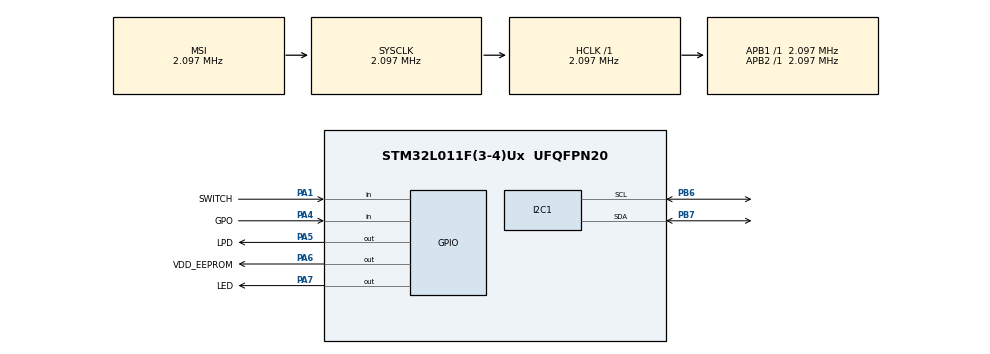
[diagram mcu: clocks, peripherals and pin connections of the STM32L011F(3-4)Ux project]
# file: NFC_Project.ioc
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Mcu.Family=STM32L0
Mcu.Name=STM32L011F(3-4)Ux
Mcu.Package=UFQFPN20
PA1.GPIO_Label=SWITCH
PA1.GPIO_PuPd=GPIO_PULLUP
PA1.Signal=GPIO_Input
PA13.Mode=Serial_Wire
PA13.Signal=SYS_SWDIO
PA14.Mode=Serial_Wire
PA14.Signal=SYS_SWCLK
PA4.GPIO_Label=GPO
PA4.Signal=GPIO_Input
PA5.GPIO_Label=LPD
PA5.Signal=GPIO_Output
PA6.GPIO_Label=VDD_EEPROM
PA6.PinState=GPIO_PIN_RESET
PA6.Signal=GPIO_Output
PA7.GPIO_Label=LED
PA7.PinState=GPIO_PIN_SET
PA7.Signal=GPIO_Output
PB6.Mode=I2C
PB6.Signal=I2C1_SCL
PB7.Mode=I2C
PB7.Signal=I2C1_SDA
ProjectManager.HeapSize=0x200
ProjectManager.StackSize=0x400
ProjectManager.TargetToolchain=TrueSTUDIO
RCC.AHBFreq_Value=2097000
RCC.APB1Freq_Value=2097000
RCC.APB1TimFreq_Value=2097000
RCC.APB2Freq_Value=2097000
RCC.APB2TimFreq_Value=2097000
RCC.HSE_VALUE=8000000
RCC.HSI16_VALUE=16000000
RCC.HSI_VALUE=16000000
RCC.LSE_VALUE=32768
RCC.MSI_VALUE=2097000
RCC.SYSCLKFreq_VALUE=2097000
RCC.VCOOutputFreq_Value=48000000
board=custom

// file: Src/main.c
/* USER CODE BEGIN Header */
/**
  ******************************************************************************
  * @file           : main.c
  * @brief          : Main program body
  ******************************************************************************
  * @attention
  *
  * <h2><center>&copy; Copyright (c) 2019 STMicroelectronics.
  * All rights reserved.</center></h2>
  *
  * This software component is licensed by ST under BSD 3-Clause license,
  * the "License"; You may not use this file except in compliance with the
  * License. You may obtain a copy of the License at:
  *                        opensource.org/licenses/BSD-3-Clause
  *
  ******************************************************************************
  */
/* USER CODE END Header */

#include "main.h"
#include "i2c.h"
#include "gpio.h"

void SystemClock_Config(void);

/* USER CODE BEGIN 0 */

void writeNFC(uint16_t deviceAddress, uint16_t registerAddress, uint8_t data){
	uint8_t buffer[3] = {0};

	buffer[0] = registerAddress>>8; //Register Address MSB
	buffer[1] = registerAddress; //Register Address LSB
	buffer[2] = data; //Date to Write
	HAL_I2C_Master_Transmit(&hi2c1, deviceAddress<<1, buffer, 3, 10);
}

uint8_t readNFC(uint16_t deviceAddress, uint16_t registerAddress){
	uint8_t buffer[2] = {0};

	buffer[0] = registerAddress>>8; //Register Address MSB
	buffer[1] = registerAddress; //Register Address LSB
	HAL_I2C_Master_Transmit(&hi2c1, deviceAddress<<1, buffer, 2, 10); //Choose Register

	buffer[0] = 0;
	buffer[1] = 0;
	HAL_I2C_Master_Receive(&hi2c1, deviceAddress<<1, buffer, 1, 10); //Read Byte

	return(buffer[0]);
}

void addToOpenings(){
	  //Read from I2C device information
	  HAL_GPIO_WritePin(GPIOA, VDD_EEPROM_Pin, GPIO_PIN_SET); //Give Power to ST25 EEPROM
	  HAL_Delay(10); //Wait for EEPROM to power up

	  uint16_t deviceAddress = 0b1010011;
	  //deviceAddress = 0b1010111;
	  /*
	  I2C device found at address 0x2D  !
	  I2C device found at address 0x53  !
	  I2C device found at address 0x57  !
	  */

	//Check if I2C Device is Valid
	if(HAL_I2C_IsDeviceReady(&hi2c1, deviceAddress<<1, 2, 10) == HAL_OK){

		uint8_t data = 0;
		uint16_t regAdd = 0;

		data = readNFC(deviceAddress, regAdd);
		HAL_Delay(20);
		data++;
		writeNFC(deviceAddress, regAdd, data);
	}
}

void zeroOpenings(){

	HAL_GPIO_WritePin(GPIOA, VDD_EEPROM_Pin, GPIO_PIN_SET); //Give Power to ST25 EEPROM
	HAL_Delay(10); //Wait for EEPROM to power up
	uint16_t deviceAddress = 0b1010011;

	//Check if I2C Device is Valid
	if(HAL_I2C_IsDeviceReady(&hi2c1, deviceAddress<<1, 2, 10) == HAL_OK){
		uint8_t data = 0;
		uint16_t regAdd = 0;
		writeNFC(deviceAddress, regAdd, data);
	}
}

/* USER CODE END 0 */

int main(void)
{

  /* MCU Configuration--------------------------------------------------------*/

  /* Reset of all peripherals, Initializes the Flash interface and the Systick. */
  HAL_Init();

  /* Configure the system clock */
  SystemClock_Config();

  /* Initialize all configured peripherals */
  MX_GPIO_Init();
  MX_I2C1_Init();

  /* Infinite loop */
  /* USER CODE BEGIN WHILE */
  uint8_t flop = 0;
  zeroOpenings();
  while (1)
  {
    /* USER CODE END WHILE */

    /* USER CODE BEGIN 3 */

      if (HAL_GPIO_ReadPin(SWITCH_GPIO_Port, SWITCH_Pin) == 0 && flop == 0)
      {
          // Turn on LED on PA0 (LED circuit is active low)
    	  HAL_GPIO_WritePin(LED_GPIO_Port, LED_Pin, GPIO_PIN_RESET);
    	  flop = 1;

    	  addToOpenings();
      }
      if (HAL_GPIO_ReadPin(SWITCH_GPIO_Port, SWITCH_Pin) == 1 && flop == 1)
      {
          // Turn off LED on PA0
    	  HAL_GPIO_WritePin(LED_GPIO_Port, LED_Pin, GPIO_PIN_SET);
    	  flop = 0;
      }

/*
      if (HAL_GPIO_ReadPin(GPO_GPIO_Port, GPO_Pin) == 1)
      {
          // Turn on LED on PA0 (LED circuit is active low)
    	  HAL_GPIO_WritePin(LED_GPIO_Port, LED_Pin, GPIO_PIN_RESET);
    	  HAL_Delay(1000);
      }*/

      //HAL_Delay(100);

  }
  /* USER CODE END 3 */
}

void SystemClock_Config(void)
{
  RCC_OscInitTypeDef RCC_OscInitStruct = {0};
  RCC_ClkInitTypeDef RCC_ClkInitStruct = {0};
  RCC_PeriphCLKInitTypeDef PeriphClkInit = {0};

  /** Configure the main internal regulator output voltage
  */
  __HAL_PWR_VOLTAGESCALING_CONFIG(PWR_REGULATOR_VOLTAGE_SCALE1);
  /** Initializes the CPU, AHB and APB busses clocks
  */
  RCC_OscInitStruct.OscillatorType = RCC_OSCILLATORTYPE_MSI;
  RCC_OscInitStruct.MSIState = RCC_MSI_ON;
  RCC_OscInitStruct.MSICalibrationValue = 0;
  RCC_OscInitStruct.MSIClockRange = RCC_MSIRANGE_5;
  RCC_OscInitStruct.PLL.PLLState = RCC_PLL_NONE;
  if (HAL_RCC_OscConfig(&RCC_OscInitStruct) != HAL_OK)
  {
    Error_Handler();
  }
  /** Initializes the CPU, AHB and APB busses clocks
  */
  RCC_ClkInitStruct.ClockType = RCC_CLOCKTYPE_HCLK|RCC_CLOCKTYPE_SYSCLK
                              |RCC_CLOCKTYPE_PCLK1|RCC_CLOCKTYPE_PCLK2;
  RCC_ClkInitStruct.SYSCLKSource = RCC_SYSCLKSOURCE_MSI;
  RCC_ClkInitStruct.AHBCLKDivider = RCC_SYSCLK_DIV1;
  RCC_ClkInitStruct.APB1CLKDivider = RCC_HCLK_DIV1;
  RCC_ClkInitStruct.APB2CLKDivider = RCC_HCLK_DIV1;

  if (HAL_RCC_ClockConfig(&RCC_ClkInitStruct, FLASH_LATENCY_0) != HAL_OK)
  {
    Error_Handler();
  }
  PeriphClkInit.PeriphClockSelection = RCC_PERIPHCLK_I2C1;
  PeriphClkInit.I2c1ClockSelection = RCC_I2C1CLKSOURCE_PCLK1;
  if (HAL_RCCEx_PeriphCLKConfig(&PeriphClkInit) != HAL_OK)
  {
    Error_Handler();
  }
}

void Error_Handler(void)
{
}

/************************ (C) COPYRIGHT STMicroelectronics *****END OF FILE****/
